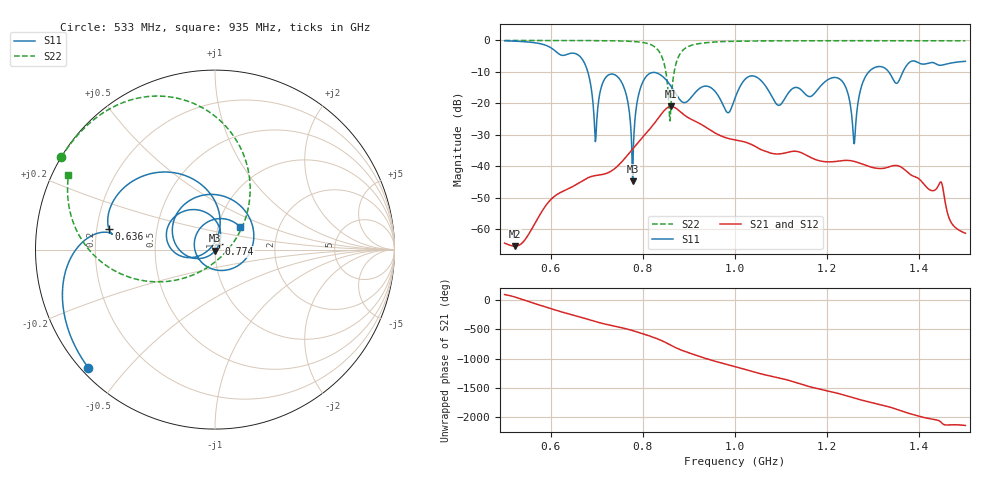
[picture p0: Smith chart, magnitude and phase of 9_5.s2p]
! TOUCHSTONE file generated by CST MICROWAVE STUDIO
! Date and time: Mon Nov 30 08:39:15 2020
! Project name: Scenario_1_Planar_Body_Tissue_Out_of_Line.cst
! Parameters = {dy1=-207.6; L_HA=400; Ltissue=700; MT=2.54; Rad_Dielectric=30; Rad_Lower=7.3; Rad_Upper=30; Wtissue=700; a_HA=580; a_WG=246; b_HA=500; b_WG=121; c_HA=0; c_WG=187; d_feed=85; dx1=866; h_feed=15; h_lower=18; h_upper=40; hfat=3; hgap=25; hmuscle=50; hskin=1.5}
! Header version: 2018
! Port assignment regex: !\s*Touchstone port\s*([0-9]+)\s*=\s*(CST MWS port|CST DS port)\s*([0-9]+|Zmin|Zmax)\s*\(\"(.*)\"\)(\s*mode\s*([0-9]+))?.*
! Touchstone port assignment:
! Touchstone port 1 = CST MWS port 1 ("")
! Touchstone port 2 = CST MWS port 2 ("")
# GHz S DB R 50
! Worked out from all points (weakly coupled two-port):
!   1003 points, 500 MHz to 1.5 GHz, reference 50 ohm
!   highest |S21| = -20.95 dB at 861 MHz (marker M1); lowest = -65.3 dB at 523 MHz (marker M2)
!   lowest |S11| = -44.7 dB at 778 MHz (marker M3), VSWR 1.01, Z = 50.2 - j0.559 ohm
!   |S11| at or under -10 dB: 680.6 MHz to 1.29 GHz (609.8 MHz wide, 61.9 % of centre); 1.334 GHz to 1.364 GHz (30.73 MHz wide, 2.28 % of centre)
!   |S22| runs from -25.5 to 0.0 dB; largest |S21 - S12| = 2.1e-05
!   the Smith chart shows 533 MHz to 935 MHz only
!   S11 on the Smith chart (normalised r, x): 533 MHz: 0.02, -0.39; 636 MHz: 0.25, +0.09; 774 MHz: 1.05, +0.07; 935 MHz: 1.27, +0.34
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0.5  -0.11 -122.1  -64.38 97.3  -64.38 97.3  -0.01 151.2
0.523  -0.24 -132.2  -65.34 53.5  -65.34 53.6  -0.01 149.6
0.533  -0.31 -137.0  -64.90 27.4  -64.91 27.5  -0.01 149.0
0.636  -4.40 168.9  -47.26 132.2  -47.26 132.2  -0.03 141.2
0.667  -5.66 124.0  -44.75 64.8  -44.75 64.8  -0.04 138.4
0.697  -32.14 132.8  -42.91 -6.3  -42.91 -6.3  -0.06 135.2
0.738  -10.83 138.1  -40.81 -82.4  -40.81 -82.4  -0.13 129.7
0.774  -28.11 53.3  -35.14 -151.7  -35.14 -151.7  -0.29 122.2
0.778  -44.69 -73.0  -34.42 -160.9  -34.42 -160.9  -0.33 121.1
0.797  -14.20 -178.4  -31.16 152.6  -31.16 152.6  -0.59 114.3
0.834  -10.56 74.6  -24.59 50.8  -24.59 50.8  -3.24 84.9
0.861  -14.53 -10.2  -20.95 -52.2  -20.95 -52.2  -20.49 -107.3
0.881  -18.95 -89.0  -22.61 -127.2  -22.61 -127.2  -4.20 -172.0
0.935  -14.51 43.0  -27.41 85.5  -27.41 85.5  -0.76 153.0
1  -18.33 109.2  -31.60 -58.1  -31.59 -58.1  -0.27 140.3
1.167  -17.58 170.7  -37.36 -52.1  -37.36 -52.1  -0.10 124.2
1.228  -12.32 5.6  -38.25 -166.5  -38.25 -166.5  -0.09 119.6
1.259  -32.79 34.4  -38.42 122.7  -38.42 122.7  -0.09 117.2
1.285  -11.04 51.9  -39.76 67.4  -39.76 67.4  -0.09 115.3
1.334  -10.06 -15.5  -40.15 -27.3  -40.15 -27.3  -0.08 111.6
1.446  -7.89 -33.8  -44.96 76.4  -44.97 76.5  -0.10 102.7
1.5  -6.63 -44.9  -61.25 13.5  -61.25 13.5  -0.13 98.0
